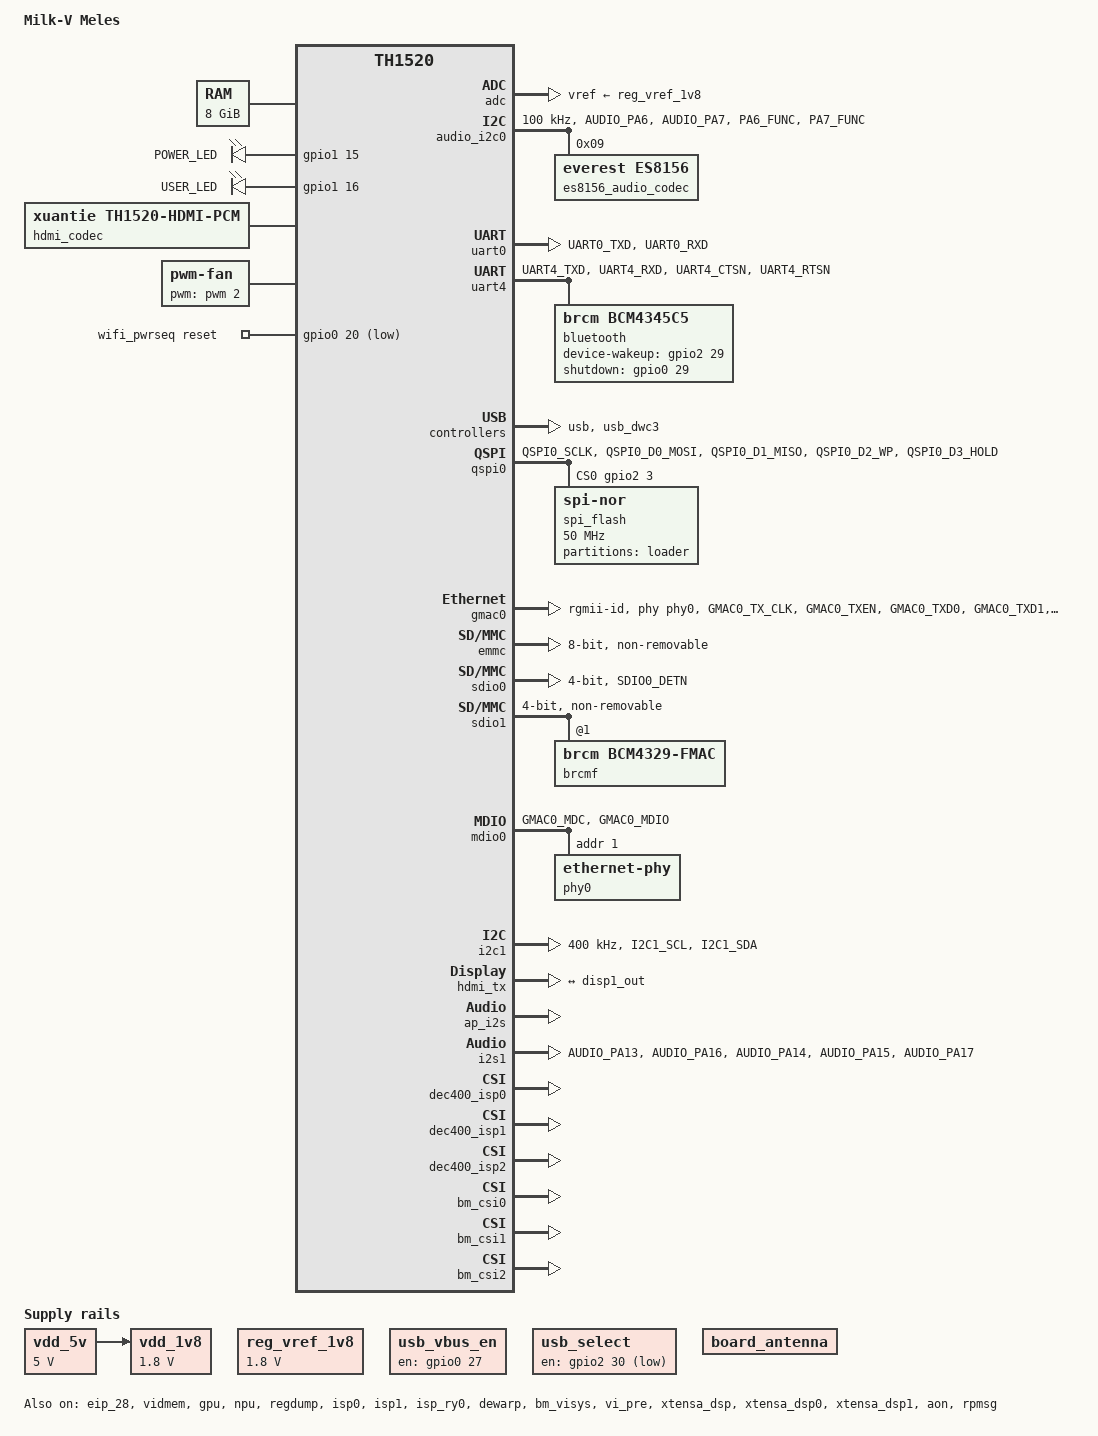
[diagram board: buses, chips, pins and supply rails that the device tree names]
/* SPDX-License-Identifier: (GPL-2.0 OR MIT) */
/*
 * Copyright (C) 2021-2022 Alibaba Group Holding Limited.
 */

/dts-v1/;

#include "th1520.dtsi"
#include <dt-bindings/input/linux-event-codes.h>
#include <dt-bindings/gpio/gpio.h>
#include <dt-bindings/interrupt-controller/irq.h>

/ {
	model = "Milk-V Meles";
	compatible = "milkv,meles", "thead,th1520";

	aliases {
		// mmc0 = &emmc;
		// mmc1 = &sdio0;
		// mmc2 = &sdio1;
	};

	chosen {
		stdout-path = "serial0:115200n8";
	};

	memory@0 {
		device_type = "memory";
		reg = <0x0 0x200000 0x1 0xffe00000>;
	};

	leds {
		compatible = "gpio-leds";

		led0 {
			label = "POWER_LED";
			gpios = <&gpio1 15 0>;	/* GPIO_ACTIVE_HIGH: 0 */
		};

		led1 {
			label = "USER_LED";
			gpios = <&gpio1 16 0>;	/* GPIO_ACTIVE_HIGH: 0 */
			linux,default-trigger = "heartbeat";
		};
	};

	th1520_iopmp: iopmp {
		compatible = "xuantie,th1520-iopmp";

		/* config#1: multiple valid regions */
		iopmp_emmc: IOPMP_EMMC {
			attr = <0xFFFFFFFF>;
			is_default_region;
		};

		/* config#2: iopmp bypass */
		iopmp_sdio0: IOPMP_SDIO0 {
			bypass_en;
		};

		/* config#3: iopmp default region set */
		iopmp_sdio1: IOPMP_SDIO1 {
			attr = <0xFFFFFFFF>;
			is_default_region;
		};

		iopmp_usb0: IOPMP_USB0 {
			attr = <0xFFFFFFFF>;
			is_default_region;
		};

		iopmp_ao: IOPMP_AO {
			is_default_region;
		};

		iopmp_aud: IOPMP_AUD {
			is_default_region;
		};

		iopmp_chip_dbg: IOPMP_CHIP_DBG {
			is_default_region;
		};

		iopmp_eip120i: IOPMP_EIP120I {
			is_default_region;
		};

		iopmp_eip120ii: IOPMP_EIP120II {
			is_default_region;
		};

		iopmp_eip120iii: IOPMP_EIP120III {
			is_default_region;
		};

		iopmp_isp0: IOPMP_ISP0 {
			is_default_region;
		};

		iopmp_isp1: IOPMP_ISP1 {
			is_default_region;
		};

		iopmp_dw200: IOPMP_DW200 {
			is_default_region;
		};

		iopmp_vipre: IOPMP_VIPRE {
			is_default_region;
		};

		iopmp_venc: IOPMP_VENC {
			is_default_region;
		};

		iopmp_vdec: IOPMP_VDEC {
			is_default_region;
		};

		iopmp_g2d: IOPMP_G2D {
			is_default_region;
		};

		iopmp_fce: IOPMP_FCE {
			is_default_region;
		};

		iopmp_npu: IOPMP_NPU {
			is_default_region;
		};

		iopmp0_dpu: IOPMP0_DPU {
			bypass_en;
		};

		iopmp1_dpu: IOPMP1_DPU {
			bypass_en;
		};

		iopmp_gpu: IOPMP_GPU {
			is_default_region;
		};

		iopmp_gmac1: IOPMP_GMAC1 {
			is_default_region;
		};

		iopmp_gmac2: IOPMP_GMAC2 {
			is_default_region;
		};

		iopmp_dmac: IOPMP_DMAC {
			is_default_region;
		};

		iopmp_tee_dmac: IOPMP_TEE_DMAC {
			is_default_region;
		};

		iopmp_dsp0: IOPMP_DSP0 {
			is_default_region;
		};

		iopmp_dsp1: IOPMP_DSP1 {
			is_default_region;
		};

		// iopmp_audio0: IOPMP_AUDIO0 {
		// 	is_default_region;
		// };

		// iopmp_audio1: IOPMP_AUDIO1 {
		// 	is_default_region;
		// };
	};

	// mbox_910t_client1: mbox_910t_client1 {
	// 	compatible = "xuantie,th1520-mbox-client";
	// 	mbox-names = "902";
	// 	mboxes = <&mbox_910t 1 0>;
	// 	status = "disabled";
	// };

	mbox_910t_client2: mbox_910t_client2 {
		compatible = "xuantie,th1520-mbox-client";
		mbox-names = "906";
		mboxes = <&mbox_910t 2 0>;
		audio-mbox-regmap = <&audio_mbox>;
		status = "okay";
	};

	th1520_sound: soundcard@1 {
		compatible = "simple-audio-card";
		simple-audio-card,name = "TH1520-Sound-Card";
		#address-cells = <1>;
		#size-cells = <0>;

        simple-audio-card,dai-link@0 {
			reg = <0>;
			format = "i2s";
			cpu {
				sound-dai = <&ap_i2s 1>;
			};
			codec {
				sound-dai = <&hdmi_codec>;
			};
		};

		simple-audio-card,dai-link@1 {
			reg = <1>;
			format = "i2s";
			cpu {
				sound-dai = <&i2s1 0>;
			};
			codec {
				sound-dai = <&es8156_audio_codec>;
			};
		};
	};

	th1520_rpmsg: th1520_rpmsg {
		compatible = "th1520,rpmsg-bus", "simple-bus";
		memory-region = <&rpmsgmem>;
		#address-cells = <2>;
		#size-cells = <2>;
		ranges;
		rpmsg: rpmsg{
			vdev-nums = <1>;
            reg = <0x0 0x1E000000 0 0x10000>;
			compatible = "th1520,th1520-rpmsg";
			log-memory-region = <&audio_log_mem>;
			audio-text-memory-region = <&audio_text_mem>;
			status = "okay";
		};
	};

	// dummy_codec: dummy_codec {
	// 	#sound-dai-cells = <0>;
	// 	compatible = "thead,light-dummy-pcm";
	// 	status = "okay";
	// 	sound-name-prefix = "DUMMY";
	// };

	hdmi_codec: hdmi_codec@1 {
		#sound-dai-cells = <0>;
		compatible = "xuantie,th1520-hdmi-pcm";
		status = "okay";
		sound-name-prefix = "DUMMY";
	};

	fan: pwm-fan {
        pinctrl-names = "default";
		pinctrl-0 = <&fan_pins>;
        compatible = "pwm-fan";
		#cooling-cells = <2>;
		pwms = <&pwm 2 10000000 0>;
		cooling-levels = <0 64 192 255>;
	};

	vdd_5v: regulator-vdd-5v {
		compatible = "regulator-fixed";
		regulator-name = "vdd_5v";
		regulator-min-microvolt = <5000000>;
		regulator-max-microvolt = <5000000>;
		regulator-boot-on;
		regulator-always-on;
		status = "okay";
	};

	vdd_1v8: regulator-vdd-1v8 {
		compatible = "regulator-fixed";
		regulator-name = "vdd_1v8";
		regulator-min-microvolt = <1800000>;
		regulator-max-microvolt = <1800000>;
		regulator-boot-on;
		regulator-always-on;
		vin-supply = <&vdd_5v>;
		status = "okay";
	};

	reg_vref_1v8: regulator-adc-verf {
		compatible = "regulator-fixed";
		regulator-name = "vref-1v8";
		regulator-min-microvolt = <1800000>;
		regulator-max-microvolt = <1800000>;
		status = "okay";
	};

	usb_vbus_en: regulator-usb-vbus-en {
		compatible = "regulator-fixed";
		regulator-name = "usb_vbus_en";
		// gpio = <&gpio0_porta 27 0>;	/* GPIO_ACTIVE_HIGH: 0 */
        gpio = <&gpio0 27 GPIO_ACTIVE_HIGH>;
		enable-active-high;
		regulator-boot-on;
		regulator-always-on;
        // pinctrl-names = "default";
        // pinctrl-0 = <&pinctrl_usb_vbus_en>;
		status = "okay";
	};

	/* Select USB3.0 Type-A port */
	usb_select: regulator-usb-select {
		compatible = "regulator-fixed";
		regulator-name = "usb_select";
		// gpio = <&gpio2_porta 30 1>;	/* GPIO_ACTIVE_LOW: 1 */
        gpio = <&gpio2 30 GPIO_ACTIVE_LOW>;
		regulator-boot-on;
		regulator-always-on;
		// pinctrl-names = "default";
		// // pinctrl-0 = <&usb_select_pins>;
        // pinctrl-0 = <&pinctrl_usb_select>;
		status = "okay";
	};

	wifi_pwrseq: wifi-pwrseq { // TODO: -EINVAL: reset GPIOs not ready
		status = "okay";
		compatible = "mmc-pwrseq-simple";
		// reset-gpios = <&gpio0_porta 20 1>;
        reset-gpios = <&gpio0 20 GPIO_ACTIVE_LOW>;
		pinctrl-names = "default";
		// pinctrl-0 = <&pinctrl_wireless_power>;  /* WL_HOST_WAKE_DEV*/
        // pinctrl-0 = <&pinctrl_wifi_wake>;
	};

	board_antenna: board-antenna { // TODO: GPIO define
		status = "okay";
		compatible = "regulator-fixed";
		enable-active-high;
		// gpio = <&gpio1_porta 24 0>;
        // gpio = <&gpio1 24 GPIO_ACTIVE_HIGH>;
		regulator-always-on;
		regulator-boot-on;
		regulator-name = "board_antenna";
	};

	thermal-zones {
		cpu-thermal-zone {
			sustainable-power = <1600>;

			trips {
				trip_active0: active-0 {
					temperature = <39000>;
					hysteresis = <5000>;
					type = "active";
				};

				trip_active1: active-1 {
					temperature = <50000>;
					hysteresis = <5000>;
					type = "active";
				};

				trip_active2: active-2 {
					temperature = <60000>;
					hysteresis = <5000>;
					type = "active";
				};
			};

			cooling-maps {
				map-active-0 {
					cooling-device = <&fan 1 1>;
					trip = <&trip_active0>;
				};

				map-active-1 {
					cooling-device = <&fan 2 2>;
					trip = <&trip_active1>;
				};

				map-active-2 {
					cooling-device = <&fan 3 3>;
					trip = <&trip_active2>;
				};
			};
		};

		dev-thermal {
			sustainable-power = <3000>;
		};
	};

    // soc {
	// 	compatible = "simple-bus";
	// 	interrupt-parent = <&plic>;
	// 	#address-cells = <2>;
	// 	#size-cells = <2>;
	// 	dma-noncoherent;
	// 	ranges;

    //     // camera node here
    // };
};

&resmem {
	#address-cells = <2>;
	#size-cells = <2>;
	ranges;
	// //Note: with "no-map" reserv mem not saved in hibernation
	// tee_mem: memory@1c000000 {
	// 	reg = <0x0 0x1c000000 0 0x2000000>;
	// 	no-map;
	// };
	/* global autoconfigured region for contiguous allocations */
	cmamem: linux,cma {
		compatible = "shared-dma-pool";
		reusable;
		size = <0 0x14000000>; // 512MB on lpi4a (SOM)
		alloc-ranges = <00 0xe4000000 0 0x14000000>;
		linux,cma-default;
	};
	dsp0_mem: memory@20000000 {             /**0x2000_0000~0x2040_0000 4M**/
		reg = <0x0 0x20000000 0x0 0x00280000   /* DSP FW code&data section 2.5M*/ 
               0x0 0x20280000 0x0 0x00001000   /* DSP communication area 4K*/ 
               0x0 0x20281000 0x0 0x00007000  /* Panic/log page 28K */
               0x0 0x20288000 0x0 0x00178000>;  /* DSP shared memory 1.5M-32K*/
	};
	dsp1_mem: memory@20400000 {             /**0x2040_0000~0x2080_0000 4M**/
		reg = <0x0 0x20400000 0x0 0x00280000  /* DSP FW code&data section */
               0x0 0x20680000 0x0 0x00001000 /* DSP communication area */
               0x0 0x20681000 0x0 0x00007000    /* Panic/log page*/ 
               0x0 0x20688000 0x0 0x00178000>;  /* DSP shared memory */
	};
	vi_mem: framebuffer@10000000 {
		reg = <0x0 0x10000000 0x0 0x6700000>;	/* vi_mem_pool_region[0]  44 MB (default) */
		       //0x0 0x12C00000 0x0 0x01D00000	/* vi_mem_pool_region[1]  29 MB */
		       //0x0 0x14900000 0x0 0x01E00000>;	/* vi_mem_pool_region[2]  30 MB */
		no-map;
	};
	// facelib_mem: memory@17000000 {
	// 	reg = <0x0 0x17000000 0 0x02000000>;
	// };
	audio_text_mem: memory@32000000 {
		reg = <0x0 0x32000000 0x0 0xE00000>;
		//no-map;
	};
	audio_data_mem: memory@32E00000 {
		reg = <0x0 0x32E00000 0x0 0x600000>;
		//no-map;
	};
	audio_log_mem: memory@33400000 {
		reg = <0x0 0x33400000 0x0 0x200000>;
	};
	aon_log_mem: memory@33600000 {
		reg = <0x0 0x33600000 0x0 0x200000>;
	};
	regdump_mem: memory@38400000 {
		reg = <0x0 0x38400000 0x0 0x1E00000>;
		no-map;
	};
	rpmsgmem: memory@1E000000 {
		reg = <0x0 0x1E000000 0x0 0x10000>;
	};
};

&aon_suspend_ctrl {
	audio-text-memory-region = <&audio_text_mem>;
	status = "okay";
};

&dmac0 {
	status = "okay";
};

&dmac2 {
	status = "okay";
};

&adc {
	vref-supply = <&reg_vref_1v8>;
	#io-channel-cells = <1>;
	status = "okay";
};

&audio_i2c0 {
	clock-frequency = <100000>;
	status = "okay";
	pinctrl-names = "default";
	pinctrl-0 = <&aud_i2c0_pa_pins>,
				<&aud_i2c0_pins>;

	es8156_audio_codec: es8156@9 {
		#sound-dai-cells = <0>;
		compatible = "everest,es8156";
		reg = <0x09>;
		sound-name-prefix = "ES8156";
		mclk-sclk-ratio = <4>;
        // AVDD-supply = <&reg_aud_3v3>; // TODO: check regulator setting
		// DVDD-supply = <&reg_aud_1v8>;
		// PVDD-supply = <&reg_aud_1v8>;
	};
};

&uart0 {
	// clock-frequency = <100000000>;
	pinctrl-names = "default";
	pinctrl-0 = <&uart0_pins>;
	status = "okay";
};

&uart1 {
	pinctrl-names = "default";
	pinctrl-0 = <&uart1_pins>;
	status = "disabled";
};

&uart3 {
	pinctrl-names = "default";
	pinctrl-0 = <&uart3_pins>;
	status = "disabled";
};

&uart4 {
	pinctrl-names = "default";
	pinctrl-0 = <&uart4_pins>;
	status = "okay";
    uart-has-rtscts;

	bluetooth {
		compatible = "brcm,bcm4345c5";
		clocks = <&osc_32k>;
		clock-names = "lpo";
		// max-speed = <912600>;
		device-wakeup-gpios = <&gpio2 29 GPIO_ACTIVE_HIGH>;
		// host-wakeup-gpios = <&gpio2 28 GPIO_ACTIVE_HIGH>;
		shutdown-gpios = <&gpio0 29 GPIO_ACTIVE_HIGH>;
		// pinctrl-names = "default";
		// pinctrl-0 = <&bt_host_wake_l &bt_wake_l &bt_enable_h>;
		// pinctrl-names = "default";
		// pinctrl-0 = <&pinctrl_bt_wake>;
	};
};

&usb {
	status = "okay";
};

&usb_dwc3 {
	status = "okay";
	#address-cells = <1>;
	#size-cells = <0>;
};

// TODO: Add spi node (conected to 40-Pin header)

&qspi0 {
	status = "okay";
	num-cs = <1>;
	cs-gpios = <&gpio2 3 0>; // GPIO_ACTIVE_HIGH: 0
    pinctrl-names = "default";
	pinctrl-0 = <&qspi0_pins>;

	spi_flash: spi-flash@0 {
		#address-cells = <1>;
		#size-cells = <0>;
		compatible = "jedec,spi-nor";
		reg = <0x0>;
		spi-max-frequency = <50000000>;
		spi-tx-bus-width = <1>;
		spi-rx-bus-width = <1>;
		status = "okay";

		partitions {
			compatible = "fixed-partitions";
			#address-cells = <1>;
			#size-cells = <1>;

			loader@0 {
				label = "loader";
				reg = <0x0 0x800000>;
			};
		};
	};
};

&qspi1 {
	status = "disabled";
};

&gmac0 {
	pinctrl-names = "default";
	pinctrl-0 = <&gmac0_pins>;
	phy-handle = <&phy0>;
	phy-mode = "rgmii-id";
	status = "okay";
};

&gmac1 {
	status = "disabled";
};

&emmc {
    bus-width = <8>;
    max-frequency = <198000000>;
    mmc-hs400-1_8v;
    non-removable;
    no-sdio;
    no-sd;
	io_fixed_1v8;
	is_emmc;
	pull_up;
    status = "okay";
};

&sdio0 {
       pinctrl-names = "default";
       pinctrl-0 = <&sdio0_pins>;
       bus-width = <4>;
       max-frequency = <198000000>;
       wprtn_ignore;
       no-sdio;
       pull_up;
       status = "okay";
};

&sdio1 {
	status = "okay";
	max-frequency = <198000000>;
	bus-width = <4>;
	pull_up;
	no-sd;
	no-mmc;
	non-removable;
	io_fixed_1v8;
	post-power-on-delay-ms = <50>;
	wprtn_ignore;
	cap-sd-highspeed;
	keep-power-in-suspend;
	mmc-pwrseq = <&wifi_pwrseq>;
	#address-cells = <1>;
	#size-cells = <0>;

	brcmf: wifi@1 {
		compatible = "brcm,bcm4329-fmac";
		reg = <1>;
	};
};

&mdio0 {
	pinctrl-names = "default";
	pinctrl-0 = <&mdio0_pins>;

	phy0: ethernet-phy@1 {
		reg = <1>;
	};

	// phy1: ethernet-phy@2 {
	// 	reg = <2>;
	// };
};

&padctrl0_apsys {
// 	light-evb-padctrl0
// 		/*
// 		 * Pin Configuration Node:
// 		 * Format: <pin_id mux_node config>
// 		 */

	fan_pins: fan-0 {
		pwm2-pins {
			pins = "QSPI0_CSN1";
			function = "pwm";
			bias-disable;
			drive-strength = <25>;
			input-disable;
			input-schmitt-disable;
			slew-rate = <0>;
		};
	};

// 		pinctrl_uart0: uart0grp {
// 			thead,pins = <
// 				FM_UART0_TXD	0x0	0x202
// 				FM_UART0_RXD	0x0	0x202
// 			>;
// 		};

	uart0_pins: uart0-0 {
		tx-pins {
			pins = "UART0_TXD";
			function = "uart";
			bias-disable;
			drive-strength = <3>;
			input-disable;
			input-schmitt-disable;
			slew-rate = <0>;
		};

		rx-pins {
			pins = "UART0_RXD";
			function = "uart";
			bias-disable;
			drive-strength = <1>;
			input-enable;
			input-schmitt-enable;
			slew-rate = <0>;
		};
	};

// 		pinctrl_i2c2: i2c2grp {
// 			thead,pins = <
// 				FM_I2C2_SCL	0x0	0x204
// 				FM_I2C2_SDA	0x0	0x204
// 			>;
// 		};

    i2c2_pins: i2c2-0 {
		i2c-pins {
			pins = "I2C2_SCL", "I2C2_SDA";
			function = "i2c";
			bias-disable;
			drive-strength = <7>;
			input-enable;
			input-schmitt-enable;
			slew-rate = <0>;
		};
	};

// 		pinctrl_i2c3: i2c3grp {
// 			thead,pins = <
// 				FM_I2C3_SCL	0x0	0x204
// 				FM_I2C3_SDA	0x0	0x204
// 			>;
// 		};

	i2c3_pins: i2c3-0 {
		i2c-pins {
			pins = "I2C3_SCL", "I2C3_SDA";
			function = "i2c";
			bias-disable;
			drive-strength = <7>;
			input-enable;
			input-schmitt-enable;
			slew-rate = <0>;
		};
	};

	mdio0_pins: mdio0-0 {
		mdc-pins {
			pins = "GMAC0_MDC";
			function = "gmac0";
			bias-disable;
			drive-strength = <13>;
			input-disable;
			input-schmitt-disable;
			slew-rate = <0>;
		};

		mdio-pins {
			pins = "GMAC0_MDIO";
			function = "gmac0";
			bias-disable;
			drive-strength = <13>;
			input-enable;
			input-schmitt-enable;
			slew-rate = <0>;
		};
	};

// 		pinctrl_spi0: spi0grp {
// 			thead,pins = <
// 				FM_SPI_CSN	0x3	0x20a
// 				FM_SPI_SCLK	0x0	0x20a
// 				FM_SPI_MISO	0x0	0x23a
// 				FM_SPI_MOSI	0x0	0x23a
// 			>;
// 		};

// 		pinctrl_qspi0: qspi0grp {
// 			thead,pins = <
// 				FM_QSPI0_SCLK		0x0	0x20f
// 				FM_QSPI0_CSN0		0x3	0x20f
// 				FM_QSPI0_D0_MOSI	0x0	0x23f
// 				FM_QSPI0_D1_MISO	0x0	0x23f
// 			>;
// 		};

	qspi0_pins: qspi0-0 {
		qspi-pins {
			pins = "QSPI0_SCLK", "QSPI0_D0_MOSI", "QSPI0_D1_MISO", "QSPI0_D2_WP", "QSPI0_D3_HOLD";
			function = "qspi";
			bias-disable;
			drive-strength = <7>;
			input-enable;
			input-schmitt-enable;
			slew-rate = <0>;
		};
	};

// 		pinctrl_light_i2s0: i2s0grp {
// 			thead,pins = <
// 				FM_QSPI0_SCLK    0x2    0x208
// 				FM_QSPI0_CSN0    0x2    0x238
// 				FM_QSPI0_CSN1    0x2    0x208
// 				FM_QSPI0_D0_MOSI 0x2    0x238
// 				FM_QSPI0_D1_MISO 0x2    0x238
// 				FM_QSPI0_D2_WP   0x2    0x238
// 				FM_QSPI0_D3_HOLD 0x2    0x238
// 			>;
// 		};

// 		pinctrl_gmac1: gmac1grp {
// 			thead,pins = <
// 				FM_GPIO2_18	0x1	0x20f	/*	GMAC1_TX_CLK  */
// 				FM_GPIO2_19	0x1	0x20f	/*	GMAC1_RX_CLK  */
// 				FM_GPIO2_20	0x1	0x20f	/*	GMAC1_TXEN  */
// 				FM_GPIO2_21	0x1	0x20f	/*	GMAC1_TXD0  */
// 				FM_GPIO2_22	0x1	0x20f	/*	GMAC1_TXD1  */
// 				FM_GPIO2_23	0x1	0x20f	/*	GMAC1_TXD2  */
// 				FM_GPIO2_24	0x1	0x20f	/*	GMAC1_TXD3  */
// 				FM_GPIO2_25	0x1	0x20f	/*	GMAC1_RXDV  */
// 				FM_GPIO2_30	0x1	0x20f	/*	GMAC1_RXD0  */
// 				FM_GPIO2_31	0x1	0x20f	/*	GMAC1_RXD1  */
// 				FM_GPIO3_0	0x1	0x20f	/*	GMAC1_RXD2  */
// 				FM_GPIO3_1	0x1	0x20f	/*	GMAC1_RXD3  */
// 			>;
// 		};

    // no need for gmac1
	// gmac1_pins: gmac1-0 {
	// 	tx-pins {
	// 		pins = "GPIO2_18", /* GMAC1_TX_CLK */
	// 		       "GPIO2_20", /* GMAC1_TXEN */
	// 		       "GPIO2_21", /* GMAC1_TXD0 */
	// 		       "GPIO2_22", /* GMAC1_TXD1 */
	// 		       "GPIO2_23", /* GMAC1_TXD2 */
	// 		       "GPIO2_24"; /* GMAC1_TXD3 */
	// 		function = "gmac1";
	// 		bias-disable;
	// 		drive-strength = <25>;
	// 		input-disable;
	// 		input-schmitt-disable;
	// 		slew-rate = <0>;
	// 	};

	// 	rx-pins {
	// 		pins = "GPIO2_19", /* GMAC1_RX_CLK */
	// 		       "GPIO2_25", /* GMAC1_RXDV */
	// 		       "GPIO2_30", /* GMAC1_RXD0 */
	// 		       "GPIO2_31", /* GMAC1_RXD1 */
	// 		       "GPIO3_0",  /* GMAC1_RXD2 */
	// 		       "GPIO3_1";  /* GMAC1_RXD3 */
	// 		function = "gmac1";
	// 		bias-disable;
	// 		drive-strength = <1>;
	// 		input-enable;
	// 		input-schmitt-disable;
	// 		slew-rate = <0>;
	// 	};
	// };

		// usb_select_pins: usb-select-grp {
		// 	thead,pins = <
		// 		FM_GPIO2_30	0x0	0x0
		// 	>;
		// };

	pinctrl_usb_vbus_en: usb-vbus-en-grp {
		usb_vbus_en_pins {
			pins = "GPIO0_27";
			function = "gpio";
			bias-disable;
			drive-strength = <7>;
			input-disable;
			input-schmitt-disable;
			slew-rate = <0>;
		};
	};

	pinctrl_usb_select: usb-select-grp {
		usb_select_pins {
			pins = "GPIO2_30";
			function = "gpio";
			bias-disable;
			drive-strength = <7>;
			input-disable;
			input-schmitt-disable;
			slew-rate = <0>;
		};
	};

// 		pinctrl_sdio0: sdio0grp {
// 			thead,pins = <
// 				FM_SDIO0_DETN	0x0	0x202
// 			>;
// 		};

	sdio0_pins: sdio0-0 {
		detn-pins {
			pins = "SDIO0_DETN";
			function = "sdio";
			bias-disable; /* external pull-up */
			drive-strength = <1>;
			input-enable;
			input-schmitt-enable;
			slew-rate = <0>;
		};
	};

// 		pinctrl_pwm: pwmgrp {
// 			thead,pins = <
// 				FM_QSPI0_D2_WP	0x1	0x208   /* pwm5 */
// 				FM_QSPI0_CSN1	0x1	0x208   /* pwm2 */
// 			>;
// 		};

// 		pinctrl_hdmi: hdmigrp {
// 			thead,pins = <
// 				FM_HDMI_SCL	0x0	0x208
// 				FM_HDMI_SDA	0x0	0x208
// 				FM_HDMI_CEC	0x0	0x208
// 			>;
// 		};
// 		pinctrl_gmac0: gmac0grp {
// 			thead,pins = <
// 				FM_GMAC0_TX_CLK	0x0	0x20f	/*	GMAC0_TX_CLK  */
// 				FM_GMAC0_RX_CLK	0x0	0x20f	/*	GMAC0_RX_CLK  */
// 				FM_GMAC0_TXEN	0x0	0x20f	/*	GMAC0_TXEN  */
// 				FM_GMAC0_TXD0	0x0	0x20f	/*	GMAC0_TXD0  */
// 				FM_GMAC0_TXD1	0x0	0x20f	/*	GMAC0_TXD1  */
// 				FM_GMAC0_TXD2	0x0	0x20f	/*	GMAC0_TXD2  */
// 				FM_GMAC0_TXD3	0x0	0x20f	/*	GMAC0_TXD3  */
// 				FM_GMAC0_RXDV	0x0	0x20f	/*	GMAC0_RXDV  */
// 				FM_GMAC0_RXD0	0x0	0x20f	/*	GMAC0_RXD0  */
// 				FM_GMAC0_RXD1	0x0	0x20f	/*	GMAC0_RXD1  */
// 				FM_GMAC0_RXD2	0x0	0x20f	/*	GMAC0_RXD2  */
// 				FM_GMAC0_RXD3	0x0	0x20f	/*	GMAC0_RXD3  */
// 				FM_GMAC0_MDC	0x0 0x208	/*	GMAC0_MDC  */
// 				FM_GMAC0_MDIO	0x0 0x208	/*	GMAC0_MDIO  */
// 				FM_GMAC0_COL	0x3	0x232	/*	PHY0_nRST  */
// 				FM_GMAC0_CRS	0x3	0x232	/*	PHY0_nINT  */
// 			>;
// 		};

	gmac0_pins: gmac0-0 {
		tx-pins {
			pins = "GMAC0_TX_CLK",
			       "GMAC0_TXEN",
			       "GMAC0_TXD0",
			       "GMAC0_TXD1",
			       "GMAC0_TXD2",
			       "GMAC0_TXD3";
			function = "gmac0";
			bias-disable;
			drive-strength = <25>;
			input-disable;
			input-schmitt-disable;
			slew-rate = <0>;
		};

		rx-pins {
			pins = "GMAC0_RX_CLK",
			       "GMAC0_RXDV",
			       "GMAC0_RXD0",
			       "GMAC0_RXD1",
			       "GMAC0_RXD2",
			       "GMAC0_RXD3";
			function = "gmac0";
			bias-disable;
			drive-strength = <1>;
			input-enable;
			input-schmitt-disable;
			slew-rate = <0>;
		};
	};
};

&padctrl1_apsys {
	// 	/*
	// 	 * Pin Configuration Node:
	// 	 * Format: <pin_id mux_node config>
	// 	 */
	// 	pinctrl_qspi1: qspi1grp {
	// 		thead,pins = <
	// 			FM_QSPI1_SCLK    0x0    0x20a
	// 			FM_QSPI1_CSN0    0x3    0x20a
	// 			FM_QSPI1_D0_MOSI 0x0    0x23a
	// 			FM_QSPI1_D1_MISO 0x0    0x23a
	// 		>;
	// 	};

	qspi1_pins: qspi1-0 {
		qspi-pins {
			pins = "QSPI1_SCLK", "QSPI1_D0_MOSI", "QSPI1_D1_MISO", "QSPI1_D2_WP", "QSPI1_D3_HOLD";
			function = "qspi";
			bias-disable;
			drive-strength = <7>;
			input-enable;
			input-schmitt-enable;
			slew-rate = <0>;
		};
	};

	// 	pinctrl_i2c0: i2c0grp {
	// 		thead,pins = <
	// 			FM_I2C0_SCL	0x0	0x204
	// 			FM_I2C0_SDA	0x0	0x204
	// 		>;
	// 	};

	i2c0_pins: i2c0-0 {
		i2c-pins {
			pins = "I2C0_SCL", "I2C0_SDA";
			function = "i2c";
			bias-disable;
			drive-strength = <7>;
			input-enable;
			input-schmitt-enable;
			slew-rate = <0>;
		};
	};

	// 	pinctrl_i2c1: i2c1grp {
	// 		thead,pins = <
	// 			FM_I2C1_SCL	0x0	0x204
	// 			FM_I2C1_SDA	0x0	0x204
	// 		>;
	// 	};

	i2c1_pins: i2c1-0 {
		i2c-pins {
			pins = "I2C1_SCL", "I2C1_SDA";
			function = "i2c";
			bias-disable;
			drive-strength = <7>;
			input-enable;
			input-schmitt-enable;
			slew-rate = <0>;
		};
	};

	i2c4_pins: i2c4-0 {
		i2c-pins {
			pins = "GPIO0_22", "GPIO0_23";
			function = "i2c";
			bias-disable;
			drive-strength = <7>;
			input-enable;
			input-schmitt-enable;
			slew-rate = <0>;
		};
	};

	// 	pinctrl_uart1: uart1grp {
	// 		thead,pins = <
	// 			FM_UART1_TXD	0x0	0x202
	// 			FM_UART1_RXD	0x0	0x202
	// 		>;
	// 	};

	uart1_pins: uart1-0 {
		tx-pins {
			pins = "UART1_TXD";
			function = "uart";
			bias-disable;
			drive-strength = <3>;
			input-disable;
			input-schmitt-disable;
			slew-rate = <0>;
		};

		rx-pins {
			pins = "UART1_RXD";
			function = "uart";
			bias-disable;
			drive-strength = <1>;
			input-enable;
			input-schmitt-enable;
			slew-rate = <0>;
		};
	};

	// 	pinctrl_uart3: uart3grp {
	// 		thead,pins = <
	// 			FM_UART3_TXD	0x1	0x202
	// 			FM_UART3_RXD	0x1	0x202
	// 		>;
	// 	};

	uart3_pins: uart3-0 {
		tx-pins {
			pins = "UART3_TXD";
			function = "uart";
			bias-disable;
			drive-strength = <3>;
			input-disable;
			input-schmitt-disable;
			slew-rate = <0>;
		};

		rx-pins {
			pins = "UART3_RXD";
			function = "uart";
			bias-disable;
			drive-strength = <1>;
			input-enable;
			input-schmitt-enable;
			slew-rate = <0>;
		};
	};

	// 	pinctrl_uart4: uart4grp {
	// 		thead,pins = <
	// 			FM_UART4_TXD	0x0	0x202
	// 			FM_UART4_RXD	0x0	0x202
	// 			FM_UART4_CTSN	0x0	0x202
	// 			FM_UART4_RTSN	0x0	0x202
	// 		>;
	// 	};

	uart4_pins: uart4-0 {
		tx-pins {
			pins = "UART4_TXD";
			function = "uart";
			bias-disable;
			drive-strength = <3>;
			input-disable;
			input-schmitt-disable;
			slew-rate = <0>;
		};

		rx-pins {
			pins = "UART4_RXD";
			function = "uart";
			bias-disable;
			drive-strength = <1>;
			input-enable;
			input-schmitt-enable;
			slew-rate = <0>;
		};

		ctrl-pins {
			pins = "UART4_CTSN", "UART4_RTSN";
			function = "uart";
			bias-disable;
			drive-strength = <3>;
			input-enable;
			input-schmitt-disable;
			slew-rate = <0>;
		};
	};

	// 	pinctrl_wireless_power: wireless-power-grp {
	// 		thead,pins = <
	// 			FM_GPIO0_20	0x0	0x23a
	// 		>;
	// 	};

	pinctrl_wifi_wake: wifi_grp {
		wifi-pins {
			pins = "GPIO0_20";
			function = "gpio";
			bias-disable;
			drive-strength = <7>;
			input-disable;
			input-schmitt-disable;
			slew-rate = <0>;
		};
	};

	// 	pinctrl_wireless_host_wake: wireless-host-wake-grp {
	// 		thead,pins = <
	// 			FM_GPIO0_21	0x0	0x21a
	// 		>;
	// 	};

	pinctrl_bt_wake: bt_grp {
		bt-pins {
			pins = "GPIO2_29";
			function = "gpio";
			bias-disable;
			drive-strength = <7>;
			input-disable;
			input-schmitt-disable;
			slew-rate = <0>;
		};
	};

	// 	pinctrl_iso7816: iso7816grp {
	// 		thead,pins = <
	// 			FM_QSPI1_SCLK		0x1	0x208
	// 			FM_QSPI1_D0_MOSI	0x1	0x238
	// 			FM_QSPI1_D1_MISO	0x1	0x238
	// 			FM_QSPI1_D2_WP		0x1	0x238
	// 			FM_QSPI1_D3_HOLD	0x1	0x238
	// 		>;
	// 	};

	iso7816_pins: iso7816-0 {
		det-pin {
			pins = "QSPI1_SCLK";
			function = "iso7816";
			bias-disable;
			drive-strength = <7>;
			input-enable;
			input-schmitt-enable;
			slew-rate = <0>;
		};

		iso7816-pins {
			pins = "QSPI1_D0_MOSI", "QSPI1_D1_MISO", "QSPI1_D2_WP", "QSPI1_D3_HOLD";
			function = "iso7816";
			bias-pull-up;
			drive-strength = <7>;
			input-enable;
			input-schmitt-enable;
			slew-rate = <0>;
		};
	};
};

&padctrl_aosys {
		// /*
		//  * Pin Configuration Node:
		//  * Format: <pin_id mux_node config>
		//  */
		// pinctrl_audiopa1: audiopa1_grp {
		// 	thead,pins = <
		// 		FM_AUDIO_PA1	0x3	0x72
		// 	>;
		// };
		// pinctrl_audiopa2: audiopa2_grp {
		// 	thead,pins = <
		// 		FM_AUDIO_PA2	0x0	0x72
		// 	>;
		// };
		// pinctrl_audiopa6: audiopa6 {
		// 	thead,pins = < FM_AUDIO_PA6 LIGHT_PIN_FUNC_0 0x000 >;
		// };
		// pinctrl_audiopa7: audiopa7 {
		// 	thead,pins = < FM_AUDIO_PA7 LIGHT_PIN_FUNC_0 0x000 >;
		// };
		// pinctrl_audiopa13: audiopa13 {
		// 	thead,pins = < FM_AUDIO_PA13 LIGHT_PIN_FUNC_0 0x000 >;
		// };
		// pinctrl_audiopa14: audiopa14 {
		// 	thead,pins = < FM_AUDIO_PA14 LIGHT_PIN_FUNC_0 0x000 >;
		// };
		// pinctrl_audiopa15: audiopa15 {
		// 	thead,pins = < FM_AUDIO_PA15 LIGHT_PIN_FUNC_0 0x000 >;
		// };
		// pinctrl_audiopa16: audiopa16 {
		// 	thead,pins = < FM_AUDIO_PA16 LIGHT_PIN_FUNC_0 0x000 >;
		// };
		// pinctrl_audiopa17: audiopa17 {
		// 	thead,pins = < FM_AUDIO_PA17 LIGHT_PIN_FUNC_0 0x000 >;
		// };
		// pinctrl_audiopa18: audiopa18 {
		// 	thead,pins = < FM_AOGPIO_7 LIGHT_PIN_FUNC_1 0x000 >;
		// };
		// pinctrl_audiopa19: audiopa19 {
		// 	thead,pins = < FM_AOGPIO_8 LIGHT_PIN_FUNC_1 0x000 >;
		// };
		// pinctrl_audiopa21: audiopa21 {
		// 	thead,pins = < FM_AOGPIO_10 LIGHT_PIN_FUNC_1 0x000 >;
		// };
		// pinctrl_audiopa22: audiopa22 {
		// 	thead,pins = < FM_AOGPIO_11 LIGHT_PIN_FUNC_1 0x000 >;
		// };
		// pinctrl_audiopa29: audiopa29 {
		// 	thead,pins = < FM_AUDIO_PA29 LIGHT_PIN_FUNC_0 0x000 >;
		// };
		// pinctrl_audiopa30: audiopa30 {
		// 	thead,pins = < FM_AUDIO_PA30 LIGHT_PIN_FUNC_0 0x000 >;
		// };
		// pinctrl_sleep: sleep_grp {
		// 	thead,pins = <FM_CPU_JTG_TCLK 0x3   0x238 >;
		// };
	aud_i2c0_pa_pins: aud-i2c0-pa-0 {
		i2c-pa-pins {
			pins = "AUDIO_PA6", "AUDIO_PA7";
			function = "audio";
			bias-disable;
			drive-strength = <0>;
			slew-rate = <0>;
		};
	};
	aud_i2c1_pa_pins: aud-i2c1-pa-0 {
		i2c-pa-pins {
			pins = "AUDIO_PA13", "AUDIO_PA16";
			function = "audio";
			bias-disable;
			drive-strength = <0>;
			slew-rate = <0>;
		};
	};
	i2s0_pa_pins: i2s0-pa-0 {
		i2s-pa-pins {
			pins = "AUDIO_PA9", "AUDIO_PA10", "AUDIO_PA11", "AUDIO_PA12";
			function = "audio";
			bias-disable;
			drive-strength = <0>;
			slew-rate = <0>;
		};
	};
	i2s1_pa_pins: i2s1-pa-0 {
		i2s-pa-pins {
			pins = "AUDIO_PA14", "AUDIO_PA15", "AUDIO_PA17";
			function = "audio";
			bias-disable;
			drive-strength = <0>;
			slew-rate = <0>;
		};
	};
	i2s_8ch_bus_pa_pins: i2s-8ch-bus-pa-0 {
		i2s-pa-pins {
			pins = "AUDIO_PA2", "AUDIO_PA3", "AUDIO_PA8";
			function = "audio";
			bias-disable;
			drive-strength = <0>;
			slew-rate = <0>;
		};
	};
	i2s_8ch_sd0_pa_pins: i2s-8ch-sd0-pa-0 {
		i2s-pa-pins {
			pins = "AUDIO_PA4";
			function = "audio";
			bias-disable;
			drive-strength = <0>;
			slew-rate = <0>;
		};
	};
	i2s_8ch_sd1_pa_pins: i2s-8ch-sd1-pa-0 {
		i2s-pa-pins {
			pins = "AUDIO_PA5";
			function = "audio";
			bias-disable;
			drive-strength = <0>;
			slew-rate = <0>;
		};
	};
	i2s_8ch_sd2_pa_pins: i2s-8ch-sd2-pa-0 {
		i2s-pa-pins {
			pins = "AUDIO_PA0";
			function = "audio";
			bias-disable;
			drive-strength = <0>;
			slew-rate = <0>;
		};
	};
	i2s_8ch_sd3_pa_pins: i2s-8ch-sd3-pa-0 {
		i2s-pa-pins {
			pins = "AUDIO_PA1";
			function = "audio";
			bias-disable;
			drive-strength = <0>;
			slew-rate = <0>;
		};
	};
};

&padctrl_audiosys {
	// status = "okay";
	// light-audio-padctrl {
	// 	/*
	// 	 * Pin Configuration Node:
	// 	 * Format: <pin_id mux_node config>
	// 	 */

	// 	pinctrl_audio_i2c0: audio_i2c0_grp {
	// 		thead,pins = <
	// 			FM_AUDIO_IO_PA6		LIGHT_PIN_FUNC_0 0x07f
	// 			FM_AUDIO_IO_PA7		LIGHT_PIN_FUNC_0 0x07f
	// 		>;
	// 	};

	// 	pinctrl_audio_i2c1: audio_i2c1_grp {
	// 		thead,pins = <
	// 			FM_AUDIO_IO_PA6     LIGHT_PIN_FUNC_2 0x004
	// 			FM_AUDIO_IO_PA7     LIGHT_PIN_FUNC_2 0x004
	// 		>;
	// 	};
	// 	pinctrl_audio_i2s1: audio_i2s1_grp {
	// 		thead,pins = <
	// 			FM_AUDIO_IO_PA13   LIGHT_PIN_FUNC_0 0x008
	// 			FM_AUDIO_IO_PA14   LIGHT_PIN_FUNC_0 0x008
	// 			FM_AUDIO_IO_PA15   LIGHT_PIN_FUNC_0 0x008
	// 			FM_AUDIO_IO_PA16   LIGHT_PIN_FUNC_0 0x008
	// 			FM_AUDIO_IO_PA17   LIGHT_PIN_FUNC_0 0x008
	// 		>;
	// 	};
	// 	pinctrl_audio_i2s2: audio_i2s2_grp {
	// 		thead,pins = <
	// 			FM_AUDIO_IO_PA18   LIGHT_PIN_FUNC_0 0x008
	// 			FM_AUDIO_IO_PA19   LIGHT_PIN_FUNC_0 0x008
	// 			FM_AUDIO_IO_PA21   LIGHT_PIN_FUNC_0 0x008
	// 			FM_AUDIO_IO_PA22   LIGHT_PIN_FUNC_0 0x008
	// 		>;
	// 	};
	// };
	aud_i2c0_pins: aud-i2c0-0 {
		i2c-pins {
			pins = "PA6_FUNC", "PA7_FUNC";
			function = "aud_i2c0";
			bias-disable;
			drive-strength = <7>;
			input-schmitt-disable;
			slew-rate = <0>;
		};
	};
	aud_i2c1_pins: aud-i2c1-0 {
		i2c-pins {
			pins = "PA13_FUNC", "PA16_FUNC";
			function = "aud_i2c1";
			bias-disable;
			drive-strength = <7>;
			input-schmitt-disable;
			slew-rate = <0>;
		};
	};
	i2s0_pins: i2s0-0 {
		i2s-pins {
			pins = "PA9_FUNC", "PA10_FUNC", "PA11_FUNC", "PA12_FUNC";
			function = "aud_i2s0";
			bias-disable;
			drive-strength = <13>;
			input-schmitt-disable;
			slew-rate = <0>;
		};
	};
	i2s1_pins: i2s1-0 {
		i2s-pins {
			pins = "PA14_FUNC", "PA15_FUNC", "PA17_FUNC";
			function = "aud_i2s1";
			bias-disable;
			drive-strength = <13>;
			input-schmitt-disable;
			slew-rate = <0>;
		};
	};
	i2s_8ch_bus_pins: i2s-8ch-bus-0 {
		i2s-pins {
			pins = "PA2_FUNC", "PA3_FUNC", "PA8_FUNC";
			function = "aud_i2s_8ch";
			bias-disable;
			drive-strength = <13>;
			input-schmitt-disable;
			slew-rate = <0>;
		};
	};
	i2s_8ch_sd0_pins: i2s-8ch-sd0-0 {
		i2s-pins {
			pins = "PA4_FUNC";
			function = "aud_i2s_8ch";
			bias-disable;
			drive-strength = <13>;
			input-schmitt-disable;
			slew-rate = <0>;
		};
	};
	i2s_8ch_sd1_pins: i2s-8ch-sd1-0 {
		i2s-pins {
			pins = "PA5_FUNC";
			function = "aud_i2s_8ch";
			bias-disable;
			drive-strength = <13>;
			input-schmitt-disable;
			slew-rate = <0>;
		};
	};
	i2s_8ch_sd2_pins: i2s-8ch-sd2-0 {
		i2s-pins {
			pins = "PA0_FUNC";
			function = "aud_i2s_8ch";
			bias-disable;
			drive-strength = <13>;
			input-schmitt-disable;
			slew-rate = <0>;
		};
	};
	i2s_8ch_sd3_pins: i2s-8ch-sd3-0 {
		i2s-pins {
			pins = "PA1_FUNC";
			function = "aud_i2s_8ch";
			bias-disable;
			drive-strength = <13>;
			input-schmitt-disable;
			slew-rate = <0>;
		};
	};
	tdm_pins: tdm-0 {
		clk-pins {
			pins = "PA27_FUNC", "PA28_FUNC";
			function = "aud_tdm";
			bias-disable;
			drive-strength = <12>;
			input-schmitt-disable;
			slew-rate = <0>;
		};
		data-pins {
			pins = "PA29_FUNC";
			function = "aud_tdm";
			bias-disable;
			drive-strength = <0>;
			input-schmitt-disable;
			slew-rate = <0>;
		};
	};
	spdif0_pins: spdif0-0 {
		rx-pins {
			pins = "PA21_FUNC";
			function = "aud_spdif";
			bias-disable;
			drive-strength = <12>;
			input-schmitt-disable;
			slew-rate = <0>;
		};
		tx-pins {
			pins = "PA22_FUNC";
			function = "aud_spdif";
			bias-disable;
			drive-strength = <0>;
			input-schmitt-disable;
			slew-rate = <0>;
		};
	};
	spdif1_pins: spdif1-0 {
		tx-pins {
			pins = "PA23_FUNC";
			function = "aud_spdif";
			bias-disable;
			drive-strength = <12>;
			input-schmitt-disable;
			slew-rate = <0>;
		};
		rx-pins {
			pins = "PA24_FUNC";
			function = "aud_spdif";
			bias-disable;
			drive-strength = <0>;
			input-schmitt-disable;
			slew-rate = <0>;
		};
	};
};

// &pwm {
// 	pinctrl-names = "default";
// 	pinctrl-0 = <&pinctrl_pwm>;
// };

&i2c0 {
	pinctrl-names = "default";
	pinctrl-0 = <&i2c0_pins>;
	clock-frequency = <400000>;
	i2c-sda-hold-time-ns = <300>;
	i2c-sda-falling-time-ns = <510>;
	i2c-scl-falling-time-ns = <510>;
	status = "disabled";
};

&i2c1 {
	pinctrl-names = "default";
	pinctrl-0 = <&i2c1_pins>;
	clock-frequency = <400000>;
	i2c-sda-hold-time-ns = <300>;
	i2c-sda-falling-time-ns = <510>;
	i2c-scl-falling-time-ns = <510>;
	status = "okay";
};

&i2c2 {
	pinctrl-names = "default";
	pinctrl-0 = <&i2c2_pins>;
	clock-frequency = <400000>;
	i2c-sda-hold-time-ns = <300>;
	i2c-sda-falling-time-ns = <510>;
	i2c-scl-falling-time-ns = <510>;
	status = "disabled";
};

&i2c3 {
	pinctrl-names = "default";
	pinctrl-0 = <&i2c3_pins>;
	clock-frequency = <400000>;
	i2c-sda-hold-time-ns = <300>;
	i2c-sda-falling-time-ns = <510>;
	i2c-scl-falling-time-ns = <510>;
	status = "disabled";
};

&i2c4 {
	pinctrl-names = "default";
	pinctrl-0 = <&i2c4_pins>;
	clock-frequency = <400000>;
	i2c-sda-hold-time-ns = <300>;
	i2c-sda-falling-time-ns = <510>;
	i2c-scl-falling-time-ns = <510>;
	status = "disabled";
};

&eip_28 {
	status = "okay";
};

// &vdec {
// 	status = "okay";
// };

// &venc {
// 	status = "okay";
// };

// &isp_venc_shake {
// 	status = "okay";
// };

&gpio0 {
	gpio-line-names = "", "", "", "", "", "", "", "", "", "",
			  "", "", "", "", "", "", "", "", "", "WL_HOST_WAKE_DEV",
			  "WL_DEV_WAKE_HOST", "", "", "",
			  "GPIO0_24",
			  "GPIO0_25",
			  "",
			  "GPIO0_27",
			  "GPIO0_28";
};

&gpio1 {
	gpio-line-names = "GPIO1_0", "GPIO1_1", "GPIO1_2",
			  "GPIO1_3",
			  "GPIO1_4",
			  "GPIO1_5",
			  "GPIO1_6",
			  "GPIO1_7", "GPIO1_8", "GPIO1_9", "GPIO1_10", "GPIO1_11", "GPIO1_12", "GPIO1_13", "GPIO1_14", "GPIO1_15", "GPIO1_16",
			  "CLK_OUT_0", "CLK_OUT_1", "CLK_OUT_2", "CLK_OUT_3", "GPIO1_21",
			  "GPIO1_22";
};

&gpio2 {
	gpio-line-names = "GPIO2_0", "GPIO2_1", "GPIO2_2", "GPIO2_3", "GPIO2_4", "GPIO2_5", "GPIO2_6", "GPIO2_7", "GPIO2_8", "GPIO2_9",
			  "GPIO2_10", "GPIO2_11", "GPIO2_12", "GPIO2_13", "GPIO2_14", "GPIO2_15", "GPIO2_16", "GPIO2_17", "GPIO2_18", "GPIO2_19",
			  "GPIO2_20", "GPIO2_21", "GPIO2_22", "GPIO2_23", "GPIO2_24", "GPIO2_25", "GPIO2_26", "SDIO0_DETN", "WL_DIS", "BT_DIS",
			  "GPIO2_30", "GPIO2_31";
};

&gpio3 {
	gpio-line-names = "", "",
			  "GPIO3_2",
			  "GPIO3_3";
};

&gpio4 {
	gpio-line-names = "", "";
};

&aogpio {
	gpio-line-names = "I2C_AON_SCL", "I2C_AON_SDA", 
			  "CPU_JTG_TCLK", "CPU_JTG_TMS", "CPU_JTG_TDI", "CPU_JTG_TDO", "CPU_JTG_TRST", 
			  "AOGPIO_7", "AOGPIO_8", "AOGPIO_9", "AOGPIO_10",
			  "AOGPIO_11", "AOGPIO_12", "AOGPIO_13", "AOGPIO_14", "AOGPIO_15";
};

&vidmem {
	status = "okay";
	memory-region = <&vi_mem>;
};

&gpu {
	status = "okay";
};

&npu {
	vha_clk_rate = <1000000000>;
	status = "okay";
};

&npu_opp_table {
	opp-1000000000 {
		opp-suspend;
	};
};

// &fce {
// 	memory-region = <&facelib_mem>;
// 	status = "okay";
// };

&dpu_enc1 {
	ports {
		/delete-node/ port@0;
	};
};

// &dpu {
// 	status = "okay";
// };

&disp1_out {
	remote-endpoint = <&hdmi_tx_in>;
};

&hdmi_tx {
	status = "okay";
	// pinctrl-names = "default";
	// pinctrl-0 = <&pinctrl_hdmi>;

	port@0 {
		/* input */
		hdmi_tx_in: endpoint {
			remote-endpoint = <&disp1_out>;
		};
	};
};

// &light_i2s {
// 	status = "okay";
// };

&ap_i2s {
	status = "okay";
};

// &i2s0 { /* connected to nothing... */
// 	status = "okay";
// };

&i2s1 {
	status = "okay";
	pinctrl-names = "default";
	// pinctrl-0 = <&pinctrl_audiopa13>,
	// 	<&pinctrl_audiopa14>,
	// 	<&pinctrl_audiopa15>,
	// 	<&pinctrl_audiopa16>,
	// 	<&pinctrl_audiopa17>,
	// 	<&pinctrl_audio_i2s1>;
    pinctrl-0 = <&aud_i2c1_pa_pins>,
        <&i2s1_pa_pins>;
};

&regdump {
	memory-region = <&regdump_mem>;
	status = "okay";
};

// &lightsound {
// 	status = "okay";
// 	compatible = "simple-audio-card";
// 	simple-audio-card,name = "Light-Sound-Card";
// 	#address-cells = <1>;
// 	#size-cells = <0>;

// 	/* I2S - AUDIO SYS CODEC 8156*/
// 	simple-audio-card,dai-link@0 {
// 		reg = <0>;
// 		format = "i2s";
// 		cpu {
// 			sound-dai = <&i2s1 0>;
// 		};
// 		codec {
// 			sound-dai = <&es8156_audio_codec>;
// 		};
// 	};

// 	/* I2S - HDMI */
// 	simple-audio-card,dai-link@1 {
// 		reg = <1>;
// 		format = "i2s";
// 		cpu {
// 			sound-dai = <&light_i2s 1>;
// 		};
// 		codec {
// 			sound-dai = <&dummy_codec>;
// 		};
// 	};
// };

&cpus {
	c910_0: cpu@0 {
		dvdd-supply = <&dvdd_cpu_reg>;
		dvddm-supply = <&dvddm_cpu_reg>;

		operating-points = <
			/* kHz    uV */
			300000  600000
			400000  700000
			500000  700000
			600000  700000
			702000  700000
			800000  700000
			900000  800000
			1000000 800000
			1104000 800000
			1200000 800000
			1296000 800000
			1404000 800000
			1500000 800000
			1608000 1000000
			1704000 1000000
			1848000 1000000
		>;
		th1520,dvddm-operating-points = <
			/* kHz   uV */
			300000  800000
			400000  800000
			500000  800000
			600000  800000
			702000  800000
			800000  800000
			900000  800000
			1000000 800000
			1104000 800000
			1200000 800000
			1296000 800000
			1404000 800000
			1500000 800000
			1608000 1000000
			1704000 1000000
			1848000 1000000
		>;
	};
	c910_1: cpu@1 {
		dvdd-supply = <&dvdd_cpu_reg>;
		dvddm-supply = <&dvddm_cpu_reg>;

		operating-points = <
			/* kHz    uV */
			300000  600000
			400000  700000
			500000  700000
			600000  700000
			702000  700000
			800000  700000
			900000  800000
			1000000 800000
			1104000 800000
			1200000 800000
			1296000 800000
			1404000 800000
			1500000 800000
			1608000 1000000
			1704000 1000000
			1848000 1000000
		>;
		th1520,dvddm-operating-points = <
			/* kHz   uV */
			300000  800000
			400000  800000
			500000  800000
			600000  800000
			702000  800000
			800000  800000
			900000  800000
			1000000 800000
			1104000 800000
			1200000 800000
			1296000 800000
			1404000 800000
			1500000 800000
			1608000 1000000
			1704000 1000000
			1848000 1000000
		>;
	};
	c910_2: cpu@2 {
		dvdd-supply = <&dvdd_cpu_reg>;
		dvddm-supply = <&dvddm_cpu_reg>;

		operating-points = <
			/* kHz    uV */
			300000  600000
			400000  700000
			500000  700000
			600000  700000
			702000  700000
			800000  700000
			900000  800000
			1000000 800000
			1104000 800000
			1200000 800000
			1296000 800000
			1404000 800000
			1500000 800000
			1608000 1000000
			1704000 1000000
			1848000 1000000
		>;
		th1520,dvddm-operating-points = <
			/* kHz   uV */
			300000  800000
			400000  800000
			500000  800000
			600000  800000
			702000  800000
			800000  800000
			900000  800000
			1000000 800000
			1104000 800000
			1200000 800000
			1296000 800000
			1404000 800000
			1500000 800000
			1608000 1000000
			1704000 1000000
			1848000 1000000
		>;
	};
	c910_3: cpu@3 {
		dvdd-supply = <&dvdd_cpu_reg>;
		dvddm-supply = <&dvddm_cpu_reg>;

		operating-points = <
			/* kHz    uV */
			300000  600000
			400000  700000
			500000  700000
			600000  700000
			702000  700000
			800000  700000
			900000  800000
			1000000 800000
			1104000 800000
			1200000 800000
			1296000 800000
			1404000 800000
			1500000 800000
			1608000 1000000
			1704000 1000000
			1848000 1000000
		>;
		th1520,dvddm-operating-points = <
			/* kHz   uV */
			300000  800000
			400000  800000
			500000  800000
			600000  800000
			702000  800000
			800000  800000
			900000  800000
			1000000 800000
			1104000 800000
			1200000 800000
			1296000 800000
			1404000 800000
			1500000 800000
			1608000 1000000
			1704000 1000000
			1848000 1000000
		>;
	};
};

&osc {
	clock-frequency = <24000000>;
};

&osc_32k {
	clock-frequency = <32768>;
};

&rc_24m {
	clock-frequency = <24000000>;
};

&aonsys_clk {
	clock-frequency = <73728000>;
};

&audiosys_clk {
	clock-frequency = <294912000>;
};

&apb_clk {
	clock-frequency = <62500000>;
};

&sdhci_clk {
	clock-frequency = <198000000>;
};

&uart_sclk {
	clock-frequency = <100000000>;
};

&gmac_clk {
	clock-frequency = <500000000>;
};

&gmac_axi_clk {
	clock-frequency = <100000000>;
};

&isp0 {
	status = "okay";
};

&isp1 {
	status = "okay";
};

&isp_ry0 {
	status = "okay";
};

&dewarp {
	status = "okay";
};

&dec400_isp0 {
	status = "okay";
};

&dec400_isp1 {
	status = "okay";
};

&dec400_isp2 {
	status = "okay";
};

&bm_visys {
	status = "okay";
};

&bm_csi0 {
	status = "okay";
};

&bm_csi1 {
	status = "okay";
};

&bm_csi2 {
	status = "okay";
};

&vi_pre {
	status = "okay";
};
&xtensa_dsp {
	status = "okay";
};

&xtensa_dsp0 {
	status = "okay";
	memory-region = <&dsp0_mem>;
};

&xtensa_dsp1 {
	status = "okay";
	memory-region = <&dsp1_mem>;
};

&aon {
	log-memory-region = <&aon_log_mem>;
	status = "okay";

	dvdd_cpu_reg: appcpu_dvdd {
		compatible = "xuantie,th1520-aon-pmic";
		regulator-name = "appcpu_dvdd";
		regulator-min-microvolt = <300000>;
		regulator-max-microvolt = <1570000>;
		regulator-type = "dvdd";
		regulator-boot-on;
		regulator-always-on;
	};

	dvddm_cpu_reg: appcpu_dvddm {
		compatible = "xuantie,th1520-aon-pmic";
		regulator-name = "appcpu_dvddm";
		regulator-min-microvolt = <300000>;
		regulator-max-microvolt = <1570000>;
		regulator-type = "dvddm";
		regulator-dual-rail;
		regulator-boot-on;
		regulator-always-on;
	};

	soc_dvdd18_aon_reg: soc_dvdd18_aon {
		compatible = "xuantie,th1520-aon-pmic";
		regulator-name = "soc_dvdd18_aon";
		regulator-type = "common";
		regulator-boot-on;
		regulator-always-on;
	};

	soc_avdd33_usb3_reg: soc_avdd33_usb3 {
		compatible = "xuantie,th1520-aon-pmic";
		regulator-name = "soc_avdd33_usb3";
		regulator-type = "common";
		regulator-boot-on;
		regulator-always-on;
	};

	soc_dvdd08_aon_reg: soc_dvdd08_aon {
		compatible = "xuantie,th1520-aon-pmic";
		regulator-name = "soc_dvdd08_aon";
		regulator-type = "common";
		regulator-boot-on;
		regulator-always-on;
	};

	soc_dvdd08_ddr_reg: soc_dvdd08_ddr {
		compatible = "xuantie,th1520-aon-pmic";
		regulator-name = "soc_dvdd08_ddr";
		regulator-type = "common";
		regulator-boot-on;
		regulator-always-on;
	};

	soc_vdd_ddr_1v8_reg: soc_vdd_ddr_1v8 {
		compatible = "xuantie,th1520-aon-pmic";
		regulator-name = "soc_vdd_ddr_1v8";
		regulator-type = "common";
		regulator-boot-on;
		regulator-always-on;
	};

	soc_vdd_ddr_1v1_reg: soc_vdd_ddr_1v1 {
		compatible = "xuantie,th1520-aon-pmic";
		regulator-name = "soc_vdd_ddr_1v1";
		regulator-type = "common";
		regulator-boot-on;
		regulator-always-on;
	};

	soc_vdd_ddr_0v6_reg: soc_vdd_ddr_0v6 {
		compatible = "xuantie,th1520-aon-pmic";
		regulator-name = "soc_vdd_ddr_0v6";
		regulator-type = "common";
		regulator-boot-on;
		regulator-always-on;
	};

	soc_dvdd18_ap_reg: soc_dvdd18_ap {
		compatible = "xuantie,th1520-aon-pmic";
		regulator-name = "soc_dvdd18_ap";
		regulator-type = "common";
		regulator-boot-on;
		regulator-always-on;
	};

	soc_dvdd08_ap_reg: soc_dvdd08_ap {
		compatible = "xuantie,th1520-aon-pmic";
		regulator-name = "soc_dvdd08_ap";
		regulator-type = "common";
		regulator-boot-on;
		regulator-always-on;
	};

	soc_avdd08_mipi_hdmi_reg: soc_avdd08_mipi_hdmi {
		compatible = "xuantie,th1520-aon-pmic";
		regulator-name = "soc_avdd08_mipi_hdmi";
		regulator-type = "common";
		regulator-boot-on;
		regulator-always-on;
	};

	soc_avdd18_mipi_hdmi_reg: soc_avdd18_mipi_hdmi {
		compatible = "xuantie,th1520-aon-pmic";
		regulator-name = "soc_avdd18_mipi_hdmi";
		regulator-type = "common";
		regulator-boot-on;
		regulator-always-on;
	};

	soc_vdd33_emmc_reg: soc_vdd33_emmc {
		compatible = "xuantie,th1520-aon-pmic";
		regulator-name = "soc_dvdd33_emmc";
		regulator-type = "common";
		regulator-boot-on;
		regulator-always-on;
	};

	soc_vdd18_emmc_reg: soc_vdd18_emmc {
		compatible = "xuantie,th1520-aon-pmic";
		regulator-name = "soc_dvdd18_emmc";
		regulator-type = "gpio";
		regulator-boot-on;
		regulator-always-on;
	};

	soc_dovdd18_scan_reg: soc_dovdd18_scan {
		compatible = "xuantie,th1520-aon-pmic";
		regulator-name = "soc_dovdd18_scan";
		regulator-type = "common";
		regulator-min-microvolt = <900000>;
		regulator-max-microvolt = <3600000>;
	};

	soc_dvdd12_scan_reg: soc_dvdd12_scan {
		compatible = "xuantie,th1520-aon-pmic";
		regulator-name = "soc_dvdd12_scan";
		regulator-type = "common";
		regulator-min-microvolt = <900000>;
		regulator-max-microvolt = <3600000>;
	};

	soc_avdd28_scan_en_reg: soc_avdd28_scan_en {
		compatible = "xuantie,th1520-aon-pmic";
		regulator-name = "soc_avdd28_scan_en";
		regulator-type = "common";
		regulator-min-microvolt = <900000>;
		regulator-max-microvolt = <3600000>;
	};
};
